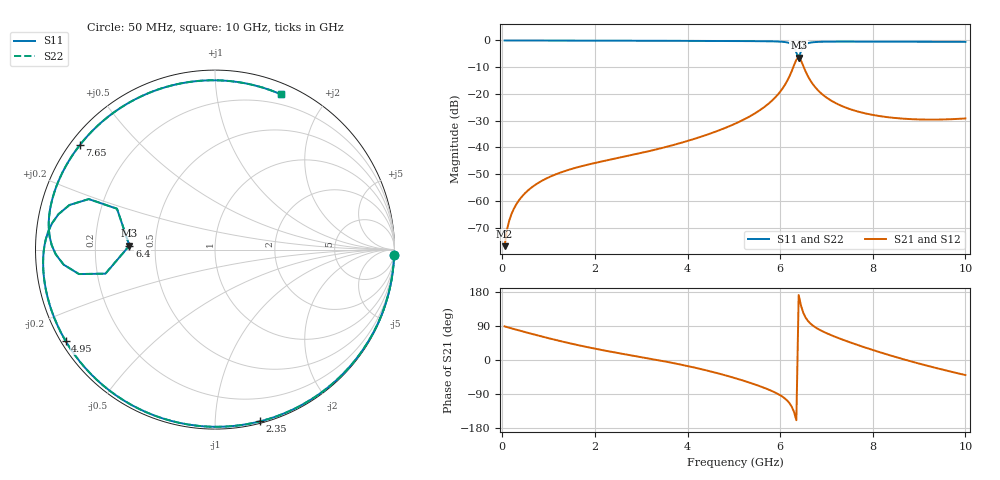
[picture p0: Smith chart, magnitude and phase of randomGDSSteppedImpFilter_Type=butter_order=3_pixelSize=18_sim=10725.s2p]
! freq	dB(S11)	phase(S11)	dB(S12)	phase(S12)
!  dB(S21)	phase(S21)	dB(S22)	phase(S22)
!S-par simulation data
#  GHz  S  DB  R 50
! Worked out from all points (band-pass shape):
!   200 points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, 50 MHz to 10 GHz, reference 50 ohm
!   highest |S21| = -6.39 dB at 6.4 GHz (marker M1); lowest = -76.9 dB at 50 MHz (marker M2)
!   |S21| within 3 dB of the highest: 6.297 GHz to 6.495 GHz (198.1 MHz wide, 3.1 % of centre)
!   lowest |S11| = -6.4 dB at 6.4 GHz (marker M3), VSWR 2.83, Z = 17.7 + j1.01 ohm
!   |S11| at or under -10 dB: nowhere
!   |S22| runs from -6.4 to 0.0 dB; largest |S21 - S12| = 0
!   S11 on the Smith chart (normalised r, x): 50 MHz: 2, -66; 2.35 GHz: 0.01, -1.30; 4.95 GHz: 0.01, -0.28; 6.4 GHz: 0.35, +0.02; 7.65 GHz: 0.03, +0.34; 10 GHz: 0.10, +1.51
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0.05  -0.01 -1.7  -76.87 88.7  -76.87 88.7  -0.01 -1.7
0.1  -0.01 -3.4  -70.83 86.9  -70.83 86.9  -0.01 -3.4
0.2  -0.02 -6.7  -64.81 83.4  -64.81 83.4  -0.02 -6.7
0.5  -0.03 -16.6  -56.93 73.4  -56.93 73.4  -0.03 -16.6
1  -0.04 -33.0  -51.17 57.5  -51.17 57.5  -0.04 -33.0
1.75  -0.07 -56.9  -46.82 36.2  -46.82 36.2  -0.07 -56.9
2.35  -0.09 -75.3  -44.47 21.7  -44.47 21.7  -0.09 -75.3
3.4  -0.13 -105.8  -40.40 -1.3  -40.40 -1.3  -0.13 -105.8
4.95  -0.21 -148.6  -31.70 -45.1  -31.70 -45.1  -0.21 -148.6
5.05  -0.22 -151.4  -30.93 -48.6  -30.93 -48.6  -0.22 -151.4
5.7  -0.30 -170.5  -24.33 -75.6  -24.33 -75.6  -0.30 -170.5
6.1  -0.59 173.8  -16.68 -101.3  -16.68 -101.3  -0.59 173.8
6.3  -2.41 158.2  -9.26 -137.3  -9.26 -137.3  -2.41 158.2
6.4  -6.42 177.4  -6.39 171.5  -6.39 171.5  -6.42 177.3
6.45  -4.08 -167.6  -7.54 143.6  -7.54 143.6  -4.08 -167.6
6.5  -2.27 -169.8  -9.59 124.3  -9.59 124.3  -2.27 -169.8
6.7  -0.69 175.6  -16.20 91.5  -16.20 91.5  -0.69 175.6
7.1  -0.44 159.7  -22.47 65.6  -22.47 65.6  -0.44 159.7
7.65  -0.43 142.3  -26.43 40.6  -26.43 40.6  -0.43 142.3
8.35  -0.46 120.6  -28.74 13.1  -28.74 13.1  -0.46 120.6
9.2  -0.50 93.4  -29.58 -15.9  -29.58 -15.9  -0.50 93.4
10  -0.54 67.0  -29.14 -39.7  -29.14 -39.7  -0.54 66.9
